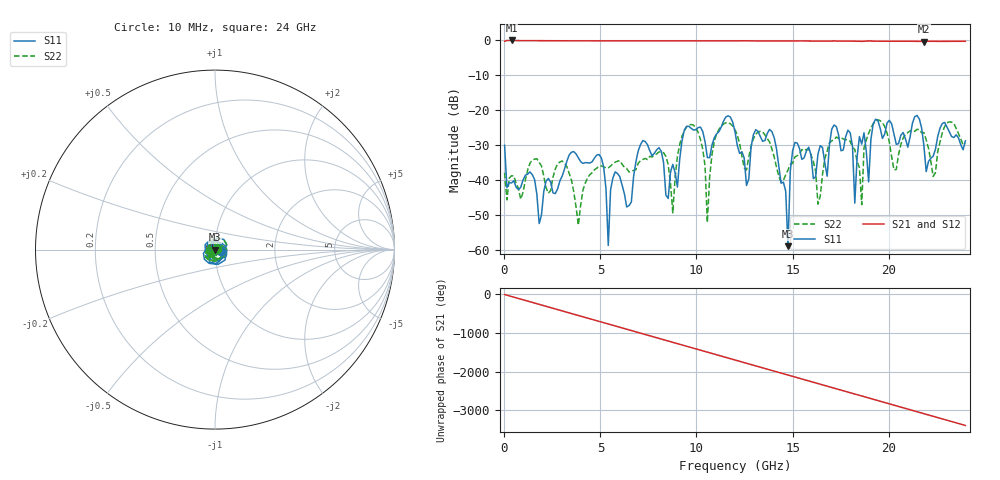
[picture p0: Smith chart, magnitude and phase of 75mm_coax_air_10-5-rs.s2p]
#  HZ  S  DB  R  50.00
! Rohde & Schwarz ZVA24 2Ports - Version 3.70 - 1145.1110k24 SN: 100407
! Date: 2016-10-05 20:15:31
! Measurements: S11 S21 S12 S22
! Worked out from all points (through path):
!   201 points, 10 MHz to 24 GHz, reference 50 ohm
!   highest |S21| = -0.05 dB at 369.9 MHz (marker M1); lowest = -0.4 dB at 21.84 GHz (marker M2)
!   group delay of S21, straight-line fit = 393 ps
!   lowest |S11| = -58.8 dB at 14.76 GHz (marker M3), VSWR 1.00, Z = 49.9 - j0.091 ohm
!   |S11| at or under -10 dB: start of sweep to end of sweep
!   |S22| runs from -52.8 to -22.7 dB; largest |S21 - S12| = 0.033
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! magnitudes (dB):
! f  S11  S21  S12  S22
! 10 MHz  -30.0  -0.3  -0.4  -37.9
! 369.9 MHz  -40.8  -0.1  -0.1  -38.7
! 4.088 GHz  -35.2  -0.2  -0.2  -42.8
! 5.048 GHz  -33.6  -0.2  -0.2  -35.9
! 5.408 GHz  -58.7  -0.2  -0.2  -36.5
! 5.768 GHz  -37.6  -0.1  -0.2  -34.8
! 8.047 GHz  -30.7  -0.2  -0.2  -31.9
! 8.766 GHz  -35.5  -0.2  -0.2  -49.3
! 9.966 GHz  -25.6  -0.2  -0.2  -25.1
! 10.57 GHz  -33.5  -0.2  -0.2  -52.0
! 10.93 GHz  -27.9  -0.2  -0.2  -28.9
! 12.01 GHz  -26.1  -0.2  -0.2  -25.6
! 13.92 GHz  -26.1  -0.2  -0.2  -31.0
! 14.76 GHz  -58.8  -0.2  -0.2  -37.1
! 15.12 GHz  -29.2  -0.2  -0.2  -33.3
! 16.08 GHz  -39.5  -0.2  -0.2  -34.7
! 17.88 GHz  -25.7  -0.2  -0.2  -28.5
! 18.24 GHz  -46.5  -0.2  -0.2  -31.2
! 18.6 GHz  -29.7  -0.3  -0.4  -47.0
! 20.04 GHz  -22.9  -0.3  -0.3  -29.2
! 21.84 GHz  -30.2  -0.4  -0.4  -26.4
! 24 GHz  -28.7  -0.3  -0.3  -29.3
